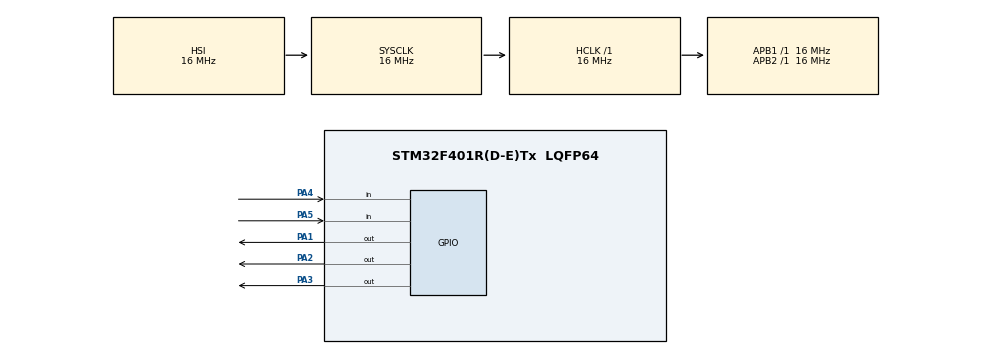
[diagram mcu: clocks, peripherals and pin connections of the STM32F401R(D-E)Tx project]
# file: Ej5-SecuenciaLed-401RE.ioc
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Mcu.Family=STM32F4
Mcu.Name=STM32F401R(D-E)Tx
Mcu.Package=LQFP64
NVIC.PriorityGroup=NVIC_PRIORITYGROUP_4
PA1.Signal=GPIO_Output
PA2.Signal=GPIO_Output
PA3.Signal=GPIO_Output
PA4.GPIO_PuPd=GPIO_PULLDOWN
PA4.Signal=GPIO_Input
PA5.GPIO_PuPd=GPIO_PULLDOWN
PA5.Signal=GPIO_Input
ProjectManager.HeapSize=0x200
ProjectManager.StackSize=0x400
ProjectManager.TargetToolchain=MDK-ARM V5.32
RCC.AHBFreq_Value=16000000
RCC.APB1Freq_Value=16000000
RCC.APB2Freq_Value=16000000
RCC.CortexFreq_Value=16000000
RCC.HSE_VALUE=25000000
RCC.HSI_VALUE=16000000
RCC.LSE_VALUE=32768
RCC.SYSCLKFreq_VALUE=16000000
RCC.VCOOutputFreq_Value=192000000
board=custom

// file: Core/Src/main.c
/* USER CODE BEGIN Header */
/**
  ******************************************************************************
  * @file           : main.c
  * @brief          : Main program body
  ******************************************************************************
  * @attention
  *
  * Copyright (c) 2022 STMicroelectronics.
  * All rights reserved.
  *
  * This software is licensed under terms that can be found in the LICENSE file
  * in the root directory of this software component.
  * If no LICENSE file comes with this software, it is provided AS-IS.
  *
  ******************************************************************************
  */
/* USER CODE END Header */
#include "main.h"

/* USER CODE BEGIN PD */
#define N_LED 		3
#define N_PULSADOR 	2
#define T_ON		500
/* USER CODE END PD */

/* USER CODE BEGIN PV */
int led [N_LED] = {GPIO_PIN_1, GPIO_PIN_2,GPIO_PIN_3 };
int pulsador [N_PULSADOR] = {GPIO_PIN_4, GPIO_PIN_5};
/* USER CODE END PV */

void SystemClock_Config(void);
static void MX_GPIO_Init(void);

int main(void)
{

  /* MCU Configuration--------------------------------------------------------*/

  /* Reset of all peripherals, Initializes the Flash interface and the Systick. */
  HAL_Init();

  /* Configure the system clock */
  SystemClock_Config();

  /* Initialize all configured peripherals */
  MX_GPIO_Init();
  /* USER CODE BEGIN 2 */
	int i = 0, sentido = 0;
  /* USER CODE END 2 */

  /* Infinite loop */
  while (1)
  {

    /* USER CODE BEGIN 3 */

		if (HAL_GPIO_ReadPin(GPIOA,pulsador[0]) == 1)
		{
			sentido = 1;
		}
	  else if (HAL_GPIO_ReadPin(GPIOA,pulsador[1]) == 1)
		{
			sentido = 0;
		}

	  if (sentido == 0)
		{
			HAL_GPIO_WritePin(GPIOA,led[i], GPIO_PIN_RESET); //GPIO_PIN_RESET = 0
			i++;
			if ( i >= N_LED ){
				i = 0;
			}
			HAL_GPIO_WritePin(GPIOA,led[i], GPIO_PIN_SET); //GPIO_PIN_SET = 1
		}
	  else
		{
			HAL_GPIO_WritePin(GPIOA,led[i], 0);
			i--;
			if ( i < 0 ){
				i = N_LED-1;
			}
			HAL_GPIO_WritePin(GPIOA,led[i], 1);
		}
		HAL_Delay(T_ON); //Retardo de un tiempo igual a T_ON
  }
  /* USER CODE END 3 */
}

void SystemClock_Config(void)
{
  RCC_OscInitTypeDef RCC_OscInitStruct = {0};
  RCC_ClkInitTypeDef RCC_ClkInitStruct = {0};

  /** Configure the main internal regulator output voltage
  */
  __HAL_RCC_PWR_CLK_ENABLE();
  __HAL_PWR_VOLTAGESCALING_CONFIG(PWR_REGULATOR_VOLTAGE_SCALE2);
  /** Initializes the RCC Oscillators according to the specified parameters
  * in the RCC_OscInitTypeDef structure.
  */
  RCC_OscInitStruct.OscillatorType = RCC_OSCILLATORTYPE_HSI;
  RCC_OscInitStruct.HSIState = RCC_HSI_ON;
  RCC_OscInitStruct.HSICalibrationValue = RCC_HSICALIBRATION_DEFAULT;
  RCC_OscInitStruct.PLL.PLLState = RCC_PLL_NONE;
  if (HAL_RCC_OscConfig(&RCC_OscInitStruct) != HAL_OK)
  {
    Error_Handler();
  }
  /** Initializes the CPU, AHB and APB buses clocks
  */
  RCC_ClkInitStruct.ClockType = RCC_CLOCKTYPE_HCLK|RCC_CLOCKTYPE_SYSCLK
                              |RCC_CLOCKTYPE_PCLK1|RCC_CLOCKTYPE_PCLK2;
  RCC_ClkInitStruct.SYSCLKSource = RCC_SYSCLKSOURCE_HSI;
  RCC_ClkInitStruct.AHBCLKDivider = RCC_SYSCLK_DIV1;
  RCC_ClkInitStruct.APB1CLKDivider = RCC_HCLK_DIV1;
  RCC_ClkInitStruct.APB2CLKDivider = RCC_HCLK_DIV1;

  if (HAL_RCC_ClockConfig(&RCC_ClkInitStruct, FLASH_LATENCY_0) != HAL_OK)
  {
    Error_Handler();
  }
}

static void MX_GPIO_Init(void)
{
  GPIO_InitTypeDef GPIO_InitStruct = {0};

  /* GPIO Ports Clock Enable */
  __HAL_RCC_GPIOA_CLK_ENABLE();

  /*Configure GPIO pin Output Level */
  HAL_GPIO_WritePin(GPIOA, GPIO_PIN_1|GPIO_PIN_2|GPIO_PIN_3, GPIO_PIN_RESET);

  /*Configure GPIO pins : PA1 PA2 PA3 */
  GPIO_InitStruct.Pin = GPIO_PIN_1|GPIO_PIN_2|GPIO_PIN_3;
  GPIO_InitStruct.Mode = GPIO_MODE_OUTPUT_PP;
  GPIO_InitStruct.Pull = GPIO_NOPULL;
  GPIO_InitStruct.Speed = GPIO_SPEED_FREQ_LOW;
  HAL_GPIO_Init(GPIOA, &GPIO_InitStruct);

  /*Configure GPIO pins : PA4 PA5 */
  GPIO_InitStruct.Pin = GPIO_PIN_4|GPIO_PIN_5;
  GPIO_InitStruct.Mode = GPIO_MODE_INPUT;
  GPIO_InitStruct.Pull = GPIO_PULLDOWN;
  HAL_GPIO_Init(GPIOA, &GPIO_InitStruct);

}

void Error_Handler(void)
{
  __disable_irq();
  while (1)
  {
  }
}
